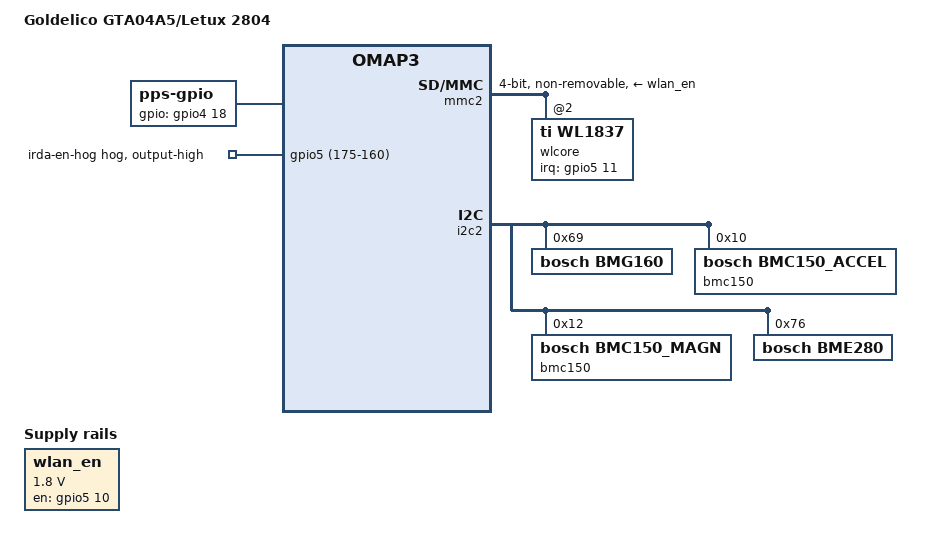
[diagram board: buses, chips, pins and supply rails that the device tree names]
// SPDX-License-Identifier: GPL-2.0-only
/*
 * Copyright (C) 2014-18 H. Nikolaus Schaller <hns@goldelico.com>
 */

#include "omap3-gta04.dtsi"

/ {
	model = "Goldelico GTA04A5/Letux 2804";

	sound {
		ti,jack-det-gpio = <&twl_gpio 2 GPIO_ACTIVE_HIGH>;	/* GTA04A5 only */
	};

	wlan_en: wlan_en_regulator {
		compatible = "regulator-fixed";
		pinctrl-names = "default";
		pinctrl-0 = <&wlan_pins>;
		regulator-name = "wlan-en-regulator";
		regulator-min-microvolt = <1800000>;
		regulator-max-microvolt = <1800000>;

		gpio = <&gpio5 10 GPIO_ACTIVE_HIGH>;	/* GPIO_138 */

		startup-delay-us = <70000>;
		enable-active-high;
	};

	pps {
		compatible = "pps-gpio";
		pinctrl-names = "default";
		pinctrl-0 = <&pps_pins>;

		gpios = <&gpio4 18 GPIO_ACTIVE_HIGH>; /* GPIN_114 */
	};

};

&gpio5 {
	irda-en-hog {
		gpio-hog;
		gpios = <(175-160) GPIO_ACTIVE_HIGH>;
		output-high;	/* activate gpio_175 to disable IrDA receiver */
	};
};

&omap3_pmx_core {
	bt_pins: pinmux_bt_pins {
		pinctrl-single,pins = <
			OMAP3_CORE1_IOPAD(0x2166, PIN_OUTPUT | MUX_MODE4)	/* mmc2_dat5 = mmc3_dat1 = gpio137 */
		>;
	};

	wlan_pins: pinmux_wlan_pins {
		pinctrl-single,pins = <
			OMAP3_CORE1_IOPAD(0x2168, PIN_OUTPUT | MUX_MODE4)	/* mmc2_dat6 = mmc3_dat2 = gpio138 */
		>;
	};

	wlan_irq_pin: pinmux_wlan_irq_pin {
		pinctrl-single,pins = <
			OMAP3_CORE1_IOPAD(0x216a, PIN_INPUT_PULLUP | MUX_MODE4)	/* mmc2_dat7 = mmc3_dat3 = gpio139 */
		>;
	};

	irda_pins: pinmux_irda {
		pinctrl-single,pins = <
			OMAP3_CORE1_IOPAD(0x21d0, PIN_OUTPUT_PULLUP | MUX_MODE4)	/* mcspi1_cs1 = gpio175 */
		>;
	};

	pps_pins: pinmux_pps_pins {
		pinctrl-single,pins = <
			OMAP3_CORE1_IOPAD(0x2138, PIN_INPUT | MUX_MODE4) /* gpin114 */
		>;
	};

};

/*
 * for WL183x module see
 * Documentation/devicetree/bindings/net/wireless/ti,wlcore.txt
 */

&wifi_pwrseq {
	/delete-property/ reset-gpios;
};

&mmc2 {
	vmmc-supply = <&wlan_en>;
	bus-width = <4>;
	cap-power-off-card;
	non-removable;

	pinctrl-names = "default";
	pinctrl-0 = <&wlan_irq_pin>;

	#address-cells = <1>;
	#size-cells = <0>;

	/delete-property/ mmc-pwrseq;

	wlcore: wlcore@2 {
		compatible = "ti,wl1837";
		reg = <2>;
		interrupt-parent = <&gpio5>;
		interrupts = <11 IRQ_TYPE_LEVEL_HIGH>;	/* GPIO_139 */
		ref-clock-frequency = <26000000>;
	};
};

&i2c2 {
	/delete-node/ bmp085@77;
	/delete-node/ bma180@41;
	/delete-node/ itg3200@68;
	/delete-node/ hmc5843@1e;

	bmg160@69 {
		compatible = "bosch,bmg160";
		reg = <0x69>;
	};

	bmc150@10 {
		compatible = "bosch,bmc150_accel";
		reg = <0x10>;
	};

	bmc150@12 {
		compatible = "bosch,bmc150_magn";
		reg = <0x12>;
	};

	bme280@76 {
		compatible = "bosch,bme280";
		reg = <0x76>;
	};
};
